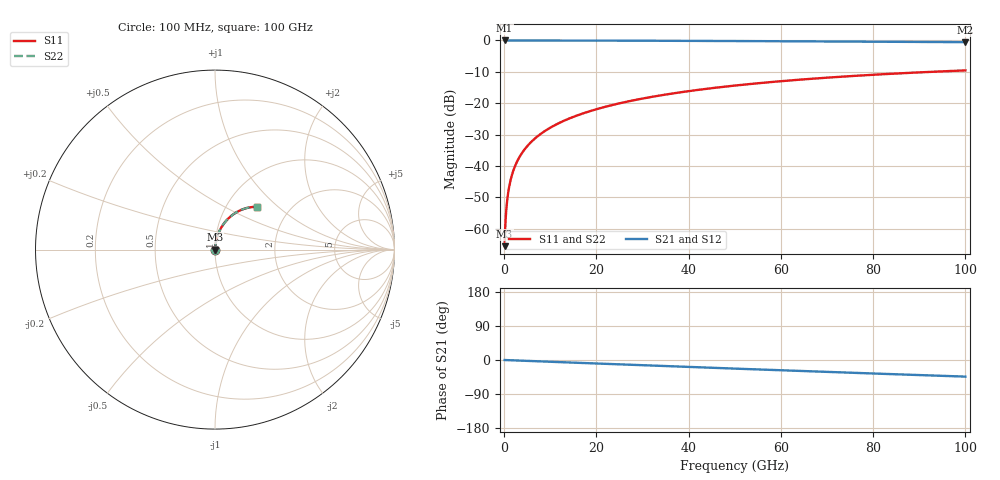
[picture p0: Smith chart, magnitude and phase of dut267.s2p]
! Touchstone file exported from HFSS 2026.1.0
!  File:  C:/ffzhzh/LocalFiles/Ansys_Project_Files/temp_train_TSV_267_1783508622_44152.aedt
!  Generated:  07:05:02 PM Jul  8, 2026
!  Design:  TSV
!  Project:  temp_train_TSV_267_1783508622_44152
! Variables:
!  h_bsmrdl = 2um
!  h_ox = 20um
!  h_rdl = 5um
!  h_sub = 75.29um
!  h_tmrdl = 5um
!  h_tsv = 75.29um
!  h_via = 3um
!  l_bsmrdl = 300um
!  l_sub = 411.56um
!  l_tmrdl = 200um
!  m_sub = 200um
!  pitch = 51.98um
!  r_tsv = 5.78um
!  s_tmrdl = 10um
!  w_bsmrdl = 18um
!  w_sub = 500um
!  w_tmrdl = 12um
!  x_tsv_center1 = 206um
!  x_tsv_center2 = 524um
!  x_tsv_center3 = 736um
!  x_tsv_center4 = 1054um
!  x_tsv_center5 = 1266um
!  x_tsv_center6 = 1584um
# GHz S MA R 50.000000
! Terminal data exported
! Port[1] = TSV1_1_T1
! Port[2] = TSV1_1_T2
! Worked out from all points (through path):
!   1000 points, 100 MHz to 100 GHz, reference 50 ohm
!   highest |S21| = 0.00 dB at 100 MHz (marker M1); lowest = -0.5 dB at 100 GHz (marker M2)
!   group delay of S21, straight-line fit = 1.22 ps
!   lowest |S11| = -65.5 dB at 100 MHz (marker M3), VSWR 1.00, Z = 50 + j0.0445 ohm
!   |S11| at or under -10 dB: start of sweep to 92.46 GHz
!   |S22| runs from -65.5 to -9.5 dB; largest |S21 - S12| = 5.5e-15
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0.1  0.0005309 56.8  0.9997 -0.0  0.9997 -0.0  0.0005309 56.8
! Gamma 0 0 0 0
! Port Impedance 50 0 50 0
0.4  0.001765 79.2  0.9997 -0.2  0.9997 -0.2  0.001765 79.2
0.7  0.003034 83.0  0.9996 -0.3  0.9996 -0.3  0.003034 83.0
0.8  0.003458 83.6  0.9996 -0.4  0.9996 -0.4  0.003458 83.6
1  0.004305 84.4  0.9996 -0.5  0.9996 -0.5  0.004305 84.4
1.3  0.005572 85.1  0.9996 -0.6  0.9996 -0.6  0.005572 85.1
1.7  0.00725 85.4  0.9995 -0.8  0.9995 -0.8  0.00725 85.4
2.3  0.009743 85.6  0.9994 -1.1  0.9994 -1.1  0.009743 85.6
3  0.01262 85.6  0.9993 -1.4  0.9993 -1.4  0.01262 85.6
3.8  0.01588 85.4  0.9991 -1.8  0.9991 -1.8  0.01588 85.4
4.8  0.01993 85.2  0.9989 -2.2  0.9989 -2.2  0.01993 85.2
6  0.02477 84.9  0.9987 -2.8  0.9987 -2.8  0.02477 84.9
8.8  0.03602 84.0  0.9982 -4.1  0.9982 -4.1  0.03602 84.0
12.4  0.0504 82.6  0.9973 -5.8  0.9973 -5.8  0.0504 82.6
16.8  0.06781 80.8  0.996 -7.8  0.996 -7.8  0.06781 80.8
24.2  0.09667 77.7  0.9933 -11.2  0.9933 -11.2  0.09667 77.7
33.4  0.1316 73.7  0.989 -15.3  0.989 -15.3  0.1316 73.7
41.2  0.1603 70.3  0.9846 -18.8  0.9846 -18.8  0.1603 70.3
50.1  0.1916 66.4  0.9787 -22.8  0.9787 -22.8  0.1916 66.4
66.7  0.2456 59.3  0.9663 -30.0  0.9663 -30.0  0.2456 59.3
83.4  0.2934 52.4  0.9527 -37.0  0.9527 -37.0  0.2934 52.3
100  0.3335 45.6  0.9391 -43.9  0.9391 -43.9  0.3335 45.6
